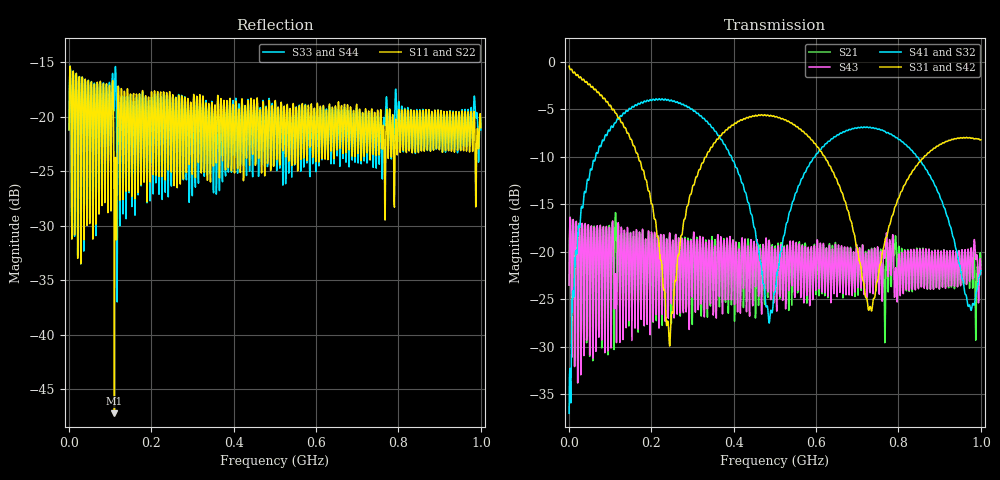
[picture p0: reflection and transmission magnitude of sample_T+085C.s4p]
! synthetic lab measurement T=85C
! synthetic measurement, noise -85.0 dB
# Hz S RI R 50
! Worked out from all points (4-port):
!   1201 points, 1 MHz to 1 GHz, reference 50 ohm
!   strongest paths, dB at 1 MHz, 250.8 MHz, 500.5 MHz, 750.2 MHz, 1 GHz:
!     S31: -0.5, -26.4, -5.8, -22.9, -8.2
!     S42: -0.5, -26.4, -5.8, -22.9, -8.2
!     S41: -37.0, -4.1, -24.3, -7.1, -22.0
!     S32: -37.0, -4.1, -24.3, -7.1, -22.0
!     S43: -23.5, -20.3, -19.7, -19.7, -22.3
!     S21: -23.5, -20.8, -19.4, -19.7, -21.4
!   lowest |S11| = -47.2 dB at 110.9 MHz (marker M1), VSWR 1.01, Z = 49.7 + j0.275 ohm
!   |S11| at or under -10 dB: start of sweep to end of sweep
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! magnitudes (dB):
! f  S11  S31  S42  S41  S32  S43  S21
! 1 MHz  -21.2  -0.5  -0.5  -37.0  -37.0  -23.5  -23.5
! 110.9 MHz  -47.2  -5.2  -5.2  -6.5  -6.5  -26.0  -22.1
! 242.4 MHz  -22.2  -28.2  -28.2  -4.0  -4.0  -23.0  -22.6
! 406.4 MHz  -18.7  -6.5  -6.5  -11.2  -11.2  -19.1  -19.0
! 488.8 MHz  -22.5  -5.7  -5.7  -26.6  -26.6  -22.6  -22.3
! 731.1 MHz  -24.0  -25.8  -25.8  -6.9  -6.9  -24.3  -24.3
! 1 GHz  -21.0  -8.2  -8.2  -22.0  -22.0  -22.3  -21.4
